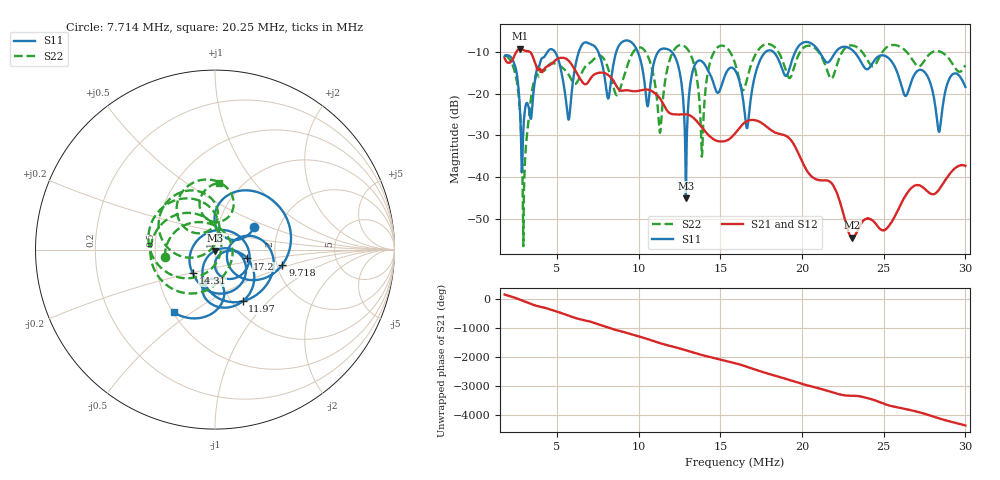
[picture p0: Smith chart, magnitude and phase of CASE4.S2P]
!Agilent Technologies,E5061B,MY49101568,A.02.00
!Date: Wed Mar 01 13:50:57 2023
!Data & Calibration Information:
!Freq	S11:SOLT2(OFF)	S21:SOLT2(OFF)	S12:SOLT2(OFF)	S22:SOLT2(OFF)
# Hz S dB R 50
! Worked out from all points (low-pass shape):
!   1155 points, 1.8 MHz to 30 MHz, reference 50 ohm
!   highest |S21| = -9.21 dB at 2.753 MHz (marker M1); lowest = -54.6 dB at 23.08 MHz (marker M2)
!   |S21| within 3 dB of the highest: 2.221 MHz to 3.631 MHz (1.41 MHz wide, 48.2 % of centre); 4.841 MHz to 5.746 MHz (904.8 kHz wide, 17.1 % of centre)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
!   lowest |S11| = -45.2 dB at 12.89 MHz (marker M3), VSWR 1.01, Z = 50.2 - j0.514 ohm
!   |S11| at or under -10 dB: start of sweep to 4.413 MHz; 12.04 MHz to 17.77 MHz (5.726 MHz wide, 38.4 % of centre); 23.2 MHz to end of sweep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
!   |S22| runs from -56.6 to -8.1 dB; largest |S21 - S12| = 0.0043
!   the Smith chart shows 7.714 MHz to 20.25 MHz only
!   S11 on the Smith chart (normalised r, x): 7.714 MHz: 1.50, +0.40; 9.718 MHz: 2.15, -0.42; 11.97 MHz: 1.12, -0.72; 14.31 MHz: 0.76, -0.20; 17.2 MHz: 1.43, -0.15; 20.25 MHz: 0.50, -0.43
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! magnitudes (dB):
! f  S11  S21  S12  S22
! 1.8 MHz  -11.0  -11.5  -11.4  -10.8
! 2.753 MHz  -24.9  -9.2  -9.2  -25.2
! 2.973 MHz  -26.9  -9.6  -9.6  -45.8
! 3.706 MHz  -15.6  -13.0  -13.1  -15.8
! 5.71 MHz  -26.2  -12.1  -12.1  -15.4
! 6.516 MHz  -8.4  -17.0  -16.9  -15.0
! 7.714 MHz  -12.0  -14.9  -14.9  -11.0
! 9.718 MHz  -8.3  -19.4  -19.4  -9.7
! 10.55 MHz  -23.0  -19.0  -19.1  -10.8
! 11.21 MHz  -9.9  -20.7  -20.7  -25.1
! 11.97 MHz  -9.7  -24.8  -24.9  -11.2
! 12.89 MHz  -45.2  -25.0  -25.0  -8.9
! 13.87 MHz  -12.2  -28.1  -28.1  -35.1
! 14.31 MHz  -14.9  -30.1  -30.1  -13.5
! 15.9 MHz  -14.4  -29.6  -29.6  -12.7
! 16.63 MHz  -28.3  -26.6  -26.6  -16.5
! 17.2 MHz  -14.6  -26.4  -26.5  -10.3
! 20.25 MHz  -7.6  -38.2  -38.2  -8.6
! 20.62 MHz  -8.0  -40.0  -39.9  -8.7
! 23.08 MHz  -9.6  -54.6  -54.5  -8.4
! 25.31 MHz  -11.5  -51.8  -51.7  -8.6
! 30 MHz  -18.4  -37.3  -37.3  -13.2
